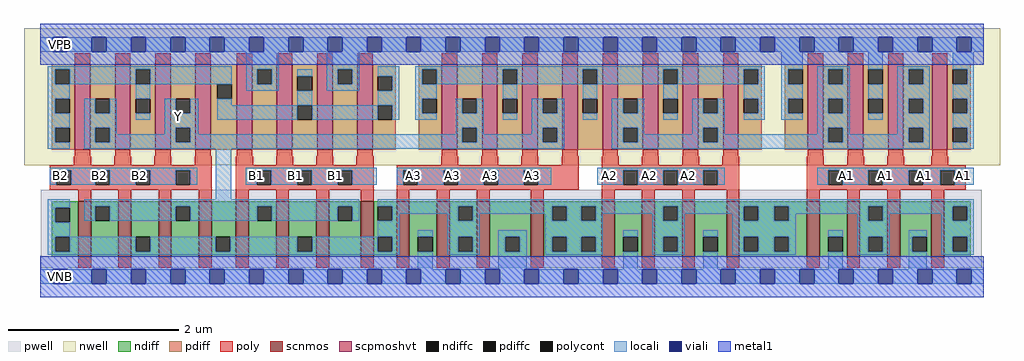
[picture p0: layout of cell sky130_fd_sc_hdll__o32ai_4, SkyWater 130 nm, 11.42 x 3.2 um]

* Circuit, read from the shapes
.subckt sky130_fd_sc_hdll__o32ai_4 A1 A2 A3 B1 B2 VGND VNB VPB VPWR Y
XM1 Y B2 n1 VNB sky130_fd_pr__nfet_01v8 w=0.65 l=0.15 m=4
XM2 Y B1 n1 VNB sky130_fd_pr__nfet_01v8 w=0.65 l=0.15 m=4
XM3 VGND A3 n1 VNB sky130_fd_pr__nfet_01v8 w=0.65 l=0.15 m=4
XM4 VGND A2 n1 VNB sky130_fd_pr__nfet_01v8 w=0.65 l=0.15 m=4
XM5 VGND A1 n1 VNB sky130_fd_pr__nfet_01v8 w=0.65 l=0.15 m=4
XM6 Y B2 n2 VPB sky130_fd_pr__pfet_01v8_hvt w=1 l=0.18 m=4
XM7 VPWR B1 n2 VPB sky130_fd_pr__pfet_01v8_hvt w=1 l=0.18 m=4
XM8 Y A3 n3 VPB sky130_fd_pr__pfet_01v8_hvt w=1 l=0.18 m=4
XM9 n4 A2 n3 VPB sky130_fd_pr__pfet_01v8_hvt w=1 l=0.18 m=4
XM10 n4 A1 VPWR VPB sky130_fd_pr__pfet_01v8_hvt w=1 l=0.18 m=4
.ends

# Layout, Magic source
magic
tech sky130A
magscale 1 2
<< nwell >>
rect -38 261 2246 582
<< pwell >>
rect 1 21 2203 203
rect 30 -17 64 21
<< scnmos >>
rect 89 47 119 177
rect 183 47 213 177
rect 277 47 307 177
rect 371 47 401 177
rect 458 47 488 177
rect 552 47 582 177
rect 646 47 676 177
rect 750 47 780 177
rect 834 47 864 177
rect 928 47 958 177
rect 1022 47 1052 177
rect 1148 47 1178 177
rect 1314 47 1344 177
rect 1408 47 1438 177
rect 1502 47 1532 177
rect 1606 47 1636 177
rect 1794 47 1824 177
rect 1888 47 1918 177
rect 1982 47 2012 177
rect 2085 47 2115 177
<< scpmoshvt >>
rect 81 297 117 497
rect 175 297 211 497
rect 269 297 305 497
rect 363 297 399 497
rect 460 297 496 497
rect 554 297 590 497
rect 648 297 684 497
rect 742 297 778 497
rect 940 297 976 497
rect 1034 297 1070 497
rect 1128 297 1164 497
rect 1222 297 1258 497
rect 1316 297 1352 497
rect 1410 297 1446 497
rect 1504 297 1540 497
rect 1598 297 1634 497
rect 1796 297 1832 497
rect 1890 297 1926 497
rect 1984 297 2020 497
rect 2087 297 2123 497
<< ndiff >>
rect 27 161 89 177
rect 27 127 35 161
rect 69 127 89 161
rect 27 93 89 127
rect 27 59 35 93
rect 69 59 89 93
rect 27 47 89 59
rect 119 165 183 177
rect 119 131 129 165
rect 163 131 183 165
rect 119 47 183 131
rect 213 93 277 177
rect 213 59 223 93
rect 257 59 277 93
rect 213 47 277 59
rect 307 165 371 177
rect 307 131 317 165
rect 351 131 371 165
rect 307 47 371 131
rect 401 93 458 177
rect 401 59 411 93
rect 445 59 458 93
rect 401 47 458 59
rect 488 165 552 177
rect 488 131 508 165
rect 542 131 552 165
rect 488 47 552 131
rect 582 93 646 177
rect 582 59 602 93
rect 636 59 646 93
rect 582 47 646 59
rect 676 165 750 177
rect 676 131 696 165
rect 730 131 750 165
rect 676 47 750 131
rect 780 165 834 177
rect 780 131 790 165
rect 824 131 834 165
rect 780 93 834 131
rect 780 59 790 93
rect 824 59 834 93
rect 780 47 834 59
rect 864 93 928 177
rect 864 59 884 93
rect 918 59 928 93
rect 864 47 928 59
rect 958 165 1022 177
rect 958 131 978 165
rect 1012 131 1022 165
rect 958 93 1022 131
rect 958 59 978 93
rect 1012 59 1022 93
rect 958 47 1022 59
rect 1052 93 1148 177
rect 1052 59 1088 93
rect 1122 59 1148 93
rect 1052 47 1148 59
rect 1178 165 1314 177
rect 1178 131 1198 165
rect 1232 131 1266 165
rect 1300 131 1314 165
rect 1178 93 1314 131
rect 1178 59 1198 93
rect 1232 59 1266 93
rect 1300 59 1314 93
rect 1178 47 1314 59
rect 1344 93 1408 177
rect 1344 59 1364 93
rect 1398 59 1408 93
rect 1344 47 1408 59
rect 1438 165 1502 177
rect 1438 131 1458 165
rect 1492 131 1502 165
rect 1438 93 1502 131
rect 1438 59 1458 93
rect 1492 59 1502 93
rect 1438 47 1502 59
rect 1532 93 1606 177
rect 1532 59 1552 93
rect 1586 59 1606 93
rect 1532 47 1606 59
rect 1636 165 1794 177
rect 1636 131 1646 165
rect 1680 131 1718 165
rect 1752 131 1794 165
rect 1636 93 1794 131
rect 1636 59 1646 93
rect 1680 59 1718 93
rect 1752 59 1794 93
rect 1636 47 1794 59
rect 1824 93 1888 177
rect 1824 59 1844 93
rect 1878 59 1888 93
rect 1824 47 1888 59
rect 1918 165 1982 177
rect 1918 131 1938 165
rect 1972 131 1982 165
rect 1918 93 1982 131
rect 1918 59 1938 93
rect 1972 59 1982 93
rect 1918 47 1982 59
rect 2012 93 2085 177
rect 2012 59 2041 93
rect 2075 59 2085 93
rect 2012 47 2085 59
rect 2115 165 2177 177
rect 2115 131 2135 165
rect 2169 131 2177 165
rect 2115 93 2177 131
rect 2115 59 2135 93
rect 2169 59 2177 93
rect 2115 47 2177 59
<< pdiff >>
rect 27 485 81 497
rect 27 451 35 485
rect 69 451 81 485
rect 27 417 81 451
rect 27 383 35 417
rect 69 383 81 417
rect 27 349 81 383
rect 27 315 35 349
rect 69 315 81 349
rect 27 297 81 315
rect 117 417 175 497
rect 117 383 129 417
rect 163 383 175 417
rect 117 349 175 383
rect 117 315 129 349
rect 163 315 175 349
rect 117 297 175 315
rect 211 485 269 497
rect 211 451 223 485
rect 257 451 269 485
rect 211 417 269 451
rect 211 383 223 417
rect 257 383 269 417
rect 211 297 269 383
rect 305 417 363 497
rect 305 383 317 417
rect 351 383 363 417
rect 305 349 363 383
rect 305 315 317 349
rect 351 315 363 349
rect 305 297 363 315
rect 399 451 460 497
rect 399 417 414 451
rect 448 417 460 451
rect 399 297 460 417
rect 496 485 554 497
rect 496 451 508 485
rect 542 451 554 485
rect 496 297 554 451
rect 590 469 648 497
rect 590 435 602 469
rect 636 435 648 469
rect 590 401 648 435
rect 590 367 602 401
rect 636 367 648 401
rect 590 297 648 367
rect 684 485 742 497
rect 684 451 696 485
rect 730 451 742 485
rect 684 297 742 451
rect 778 469 832 497
rect 778 435 790 469
rect 824 435 832 469
rect 778 401 832 435
rect 778 367 790 401
rect 824 367 832 401
rect 778 297 832 367
rect 886 485 940 497
rect 886 451 894 485
rect 928 451 940 485
rect 886 417 940 451
rect 886 383 894 417
rect 928 383 940 417
rect 886 297 940 383
rect 976 417 1034 497
rect 976 383 988 417
rect 1022 383 1034 417
rect 976 349 1034 383
rect 976 315 988 349
rect 1022 315 1034 349
rect 976 297 1034 315
rect 1070 485 1128 497
rect 1070 451 1082 485
rect 1116 451 1128 485
rect 1070 417 1128 451
rect 1070 383 1082 417
rect 1116 383 1128 417
rect 1070 297 1128 383
rect 1164 417 1222 497
rect 1164 383 1176 417
rect 1210 383 1222 417
rect 1164 349 1222 383
rect 1164 315 1176 349
rect 1210 315 1222 349
rect 1164 297 1222 315
rect 1258 485 1316 497
rect 1258 451 1270 485
rect 1304 451 1316 485
rect 1258 417 1316 451
rect 1258 383 1270 417
rect 1304 383 1316 417
rect 1258 297 1316 383
rect 1352 417 1410 497
rect 1352 383 1364 417
rect 1398 383 1410 417
rect 1352 349 1410 383
rect 1352 315 1364 349
rect 1398 315 1410 349
rect 1352 297 1410 315
rect 1446 485 1504 497
rect 1446 451 1458 485
rect 1492 451 1504 485
rect 1446 417 1504 451
rect 1446 383 1458 417
rect 1492 383 1504 417
rect 1446 297 1504 383
rect 1540 417 1598 497
rect 1540 383 1552 417
rect 1586 383 1598 417
rect 1540 349 1598 383
rect 1540 315 1552 349
rect 1586 315 1598 349
rect 1540 297 1598 315
rect 1634 485 1688 497
rect 1634 451 1646 485
rect 1680 451 1688 485
rect 1634 417 1688 451
rect 1634 383 1646 417
rect 1680 383 1688 417
rect 1634 297 1688 383
rect 1742 485 1796 497
rect 1742 451 1750 485
rect 1784 451 1796 485
rect 1742 417 1796 451
rect 1742 383 1750 417
rect 1784 383 1796 417
rect 1742 297 1796 383
rect 1832 485 1890 497
rect 1832 451 1844 485
rect 1878 451 1890 485
rect 1832 417 1890 451
rect 1832 383 1844 417
rect 1878 383 1890 417
rect 1832 349 1890 383
rect 1832 315 1844 349
rect 1878 315 1890 349
rect 1832 297 1890 315
rect 1926 485 1984 497
rect 1926 451 1938 485
rect 1972 451 1984 485
rect 1926 417 1984 451
rect 1926 383 1938 417
rect 1972 383 1984 417
rect 1926 297 1984 383
rect 2020 485 2087 497
rect 2020 451 2032 485
rect 2066 451 2087 485
rect 2020 417 2087 451
rect 2020 383 2032 417
rect 2066 383 2087 417
rect 2020 349 2087 383
rect 2020 315 2032 349
rect 2066 315 2087 349
rect 2020 297 2087 315
rect 2123 485 2177 497
rect 2123 451 2135 485
rect 2169 451 2177 485
rect 2123 417 2177 451
rect 2123 383 2135 417
rect 2169 383 2177 417
rect 2123 349 2177 383
rect 2123 315 2135 349
rect 2169 315 2177 349
rect 2123 297 2177 315
<< ndiffc >>
rect 35 127 69 161
rect 35 59 69 93
rect 129 131 163 165
rect 223 59 257 93
rect 317 131 351 165
rect 411 59 445 93
rect 508 131 542 165
rect 602 59 636 93
rect 696 131 730 165
rect 790 131 824 165
rect 790 59 824 93
rect 884 59 918 93
rect 978 131 1012 165
rect 978 59 1012 93
rect 1088 59 1122 93
rect 1198 131 1232 165
rect 1266 131 1300 165
rect 1198 59 1232 93
rect 1266 59 1300 93
rect 1364 59 1398 93
rect 1458 131 1492 165
rect 1458 59 1492 93
rect 1552 59 1586 93
rect 1646 131 1680 165
rect 1718 131 1752 165
rect 1646 59 1680 93
rect 1718 59 1752 93
rect 1844 59 1878 93
rect 1938 131 1972 165
rect 1938 59 1972 93
rect 2041 59 2075 93
rect 2135 131 2169 165
rect 2135 59 2169 93
<< pdiffc >>
rect 35 451 69 485
rect 35 383 69 417
rect 35 315 69 349
rect 129 383 163 417
rect 129 315 163 349
rect 223 451 257 485
rect 223 383 257 417
rect 317 383 351 417
rect 317 315 351 349
rect 414 417 448 451
rect 508 451 542 485
rect 602 435 636 469
rect 602 367 636 401
rect 696 451 730 485
rect 790 435 824 469
rect 790 367 824 401
rect 894 451 928 485
rect 894 383 928 417
rect 988 383 1022 417
rect 988 315 1022 349
rect 1082 451 1116 485
rect 1082 383 1116 417
rect 1176 383 1210 417
rect 1176 315 1210 349
rect 1270 451 1304 485
rect 1270 383 1304 417
rect 1364 383 1398 417
rect 1364 315 1398 349
rect 1458 451 1492 485
rect 1458 383 1492 417
rect 1552 383 1586 417
rect 1552 315 1586 349
rect 1646 451 1680 485
rect 1646 383 1680 417
rect 1750 451 1784 485
rect 1750 383 1784 417
rect 1844 451 1878 485
rect 1844 383 1878 417
rect 1844 315 1878 349
rect 1938 451 1972 485
rect 1938 383 1972 417
rect 2032 451 2066 485
rect 2032 383 2066 417
rect 2032 315 2066 349
rect 2135 451 2169 485
rect 2135 383 2169 417
rect 2135 315 2169 349
<< poly >>
rect 81 497 117 523
rect 175 497 211 523
rect 269 497 305 523
rect 363 497 399 523
rect 460 497 496 523
rect 554 497 590 523
rect 648 497 684 523
rect 742 497 778 523
rect 940 497 976 523
rect 1034 497 1070 523
rect 1128 497 1164 523
rect 1222 497 1258 523
rect 1316 497 1352 523
rect 1410 497 1446 523
rect 1504 497 1540 523
rect 1598 497 1634 523
rect 1796 497 1832 523
rect 1890 497 1926 523
rect 1984 497 2020 523
rect 2087 497 2123 523
rect 81 282 117 297
rect 175 282 211 297
rect 269 282 305 297
rect 363 282 399 297
rect 460 282 496 297
rect 554 282 590 297
rect 648 282 684 297
rect 742 282 778 297
rect 940 282 976 297
rect 1034 282 1070 297
rect 1128 282 1164 297
rect 1222 282 1258 297
rect 1316 282 1352 297
rect 1410 282 1446 297
rect 1504 282 1540 297
rect 1598 282 1634 297
rect 1796 282 1832 297
rect 1890 282 1926 297
rect 1984 282 2020 297
rect 2087 282 2123 297
rect 79 261 119 282
rect 173 261 213 282
rect 267 261 307 282
rect 361 261 401 282
rect 22 249 401 261
rect 22 215 38 249
rect 72 215 129 249
rect 163 215 223 249
rect 257 215 317 249
rect 351 215 401 249
rect 22 203 401 215
rect 89 177 119 203
rect 183 177 213 203
rect 277 177 307 203
rect 371 177 401 203
rect 458 261 498 282
rect 552 261 592 282
rect 646 261 686 282
rect 740 261 780 282
rect 938 261 978 282
rect 1032 261 1072 282
rect 1126 261 1166 282
rect 1220 261 1260 282
rect 458 249 780 261
rect 458 215 507 249
rect 541 215 601 249
rect 635 215 696 249
rect 730 215 780 249
rect 458 203 780 215
rect 458 177 488 203
rect 552 177 582 203
rect 646 177 676 203
rect 750 177 780 203
rect 834 249 1260 261
rect 834 215 850 249
rect 884 215 944 249
rect 978 215 1038 249
rect 1072 215 1132 249
rect 1166 215 1260 249
rect 834 203 1260 215
rect 1314 261 1354 282
rect 1408 261 1448 282
rect 1502 261 1542 282
rect 1596 261 1636 282
rect 1314 249 1636 261
rect 1314 215 1364 249
rect 1398 215 1458 249
rect 1492 215 1552 249
rect 1586 215 1636 249
rect 1314 203 1636 215
rect 834 177 864 203
rect 928 177 958 203
rect 1022 177 1052 203
rect 1148 177 1178 203
rect 1314 177 1344 203
rect 1408 177 1438 203
rect 1502 177 1532 203
rect 1606 177 1636 203
rect 1794 261 1834 282
rect 1888 261 1928 282
rect 1982 261 2022 282
rect 2085 261 2125 282
rect 1794 249 2166 261
rect 1794 215 1844 249
rect 1878 215 1938 249
rect 1972 215 2032 249
rect 2066 215 2106 249
rect 2140 215 2166 249
rect 1794 203 2166 215
rect 1794 177 1824 203
rect 1888 177 1918 203
rect 1982 177 2012 203
rect 2085 177 2115 203
rect 89 21 119 47
rect 183 21 213 47
rect 277 21 307 47
rect 371 21 401 47
rect 458 21 488 47
rect 552 21 582 47
rect 646 21 676 47
rect 750 21 780 47
rect 834 21 864 47
rect 928 21 958 47
rect 1022 21 1052 47
rect 1148 21 1178 47
rect 1314 21 1344 47
rect 1408 21 1438 47
rect 1502 21 1532 47
rect 1606 21 1636 47
rect 1794 21 1824 47
rect 1888 21 1918 47
rect 1982 21 2012 47
rect 2085 21 2115 47
<< polycont >>
rect 38 215 72 249
rect 129 215 163 249
rect 223 215 257 249
rect 317 215 351 249
rect 507 215 541 249
rect 601 215 635 249
rect 696 215 730 249
rect 850 215 884 249
rect 944 215 978 249
rect 1038 215 1072 249
rect 1132 215 1166 249
rect 1364 215 1398 249
rect 1458 215 1492 249
rect 1552 215 1586 249
rect 1844 215 1878 249
rect 1938 215 1972 249
rect 2032 215 2066 249
rect 2106 215 2140 249
<< locali >>
rect 0 527 29 561
rect 63 527 121 561
rect 155 527 213 561
rect 247 527 305 561
rect 339 527 397 561
rect 431 527 489 561
rect 523 527 581 561
rect 615 527 673 561
rect 707 527 765 561
rect 799 527 857 561
rect 891 527 949 561
rect 983 527 1041 561
rect 1075 527 1133 561
rect 1167 527 1225 561
rect 1259 527 1317 561
rect 1351 527 1409 561
rect 1443 527 1501 561
rect 1535 527 1593 561
rect 1627 527 1685 561
rect 1719 527 1777 561
rect 1811 527 1869 561
rect 1903 527 1961 561
rect 1995 527 2053 561
rect 2087 527 2145 561
rect 2179 527 2208 561
rect 18 485 448 493
rect 18 451 35 485
rect 69 451 223 485
rect 257 451 448 485
rect 18 417 69 451
rect 223 417 257 451
rect 482 485 558 527
rect 670 485 746 527
rect 482 451 508 485
rect 542 451 558 485
rect 482 435 558 451
rect 602 469 636 485
rect 670 451 696 485
rect 730 451 746 485
rect 670 435 746 451
rect 790 469 840 493
rect 824 435 840 469
rect 18 383 35 417
rect 18 349 69 383
rect 18 315 35 349
rect 18 299 69 315
rect 103 383 129 417
rect 163 383 179 417
rect 103 349 179 383
rect 223 367 257 383
rect 291 383 317 417
rect 351 383 370 417
rect 103 315 129 349
rect 163 333 179 349
rect 291 349 370 383
rect 414 401 448 417
rect 602 401 636 435
rect 790 401 840 435
rect 414 367 602 401
rect 636 367 790 401
rect 824 367 840 401
rect 878 485 1696 493
rect 878 451 894 485
rect 928 451 1082 485
rect 1116 451 1270 485
rect 1304 451 1458 485
rect 1492 451 1646 485
rect 1680 451 1696 485
rect 878 417 928 451
rect 1082 417 1116 451
rect 1270 417 1304 451
rect 1458 417 1492 451
rect 1646 417 1696 451
rect 878 383 894 417
rect 878 367 928 383
rect 972 383 988 417
rect 1022 383 1038 417
rect 291 333 317 349
rect 163 315 317 333
rect 351 333 370 349
rect 972 349 1038 383
rect 1082 367 1116 383
rect 1150 383 1176 417
rect 1210 383 1226 417
rect 972 333 988 349
rect 351 315 988 333
rect 1022 333 1038 349
rect 1150 349 1226 383
rect 1270 367 1304 383
rect 1338 383 1364 417
rect 1398 383 1414 417
rect 1150 333 1176 349
rect 1022 315 1176 333
rect 1210 315 1226 349
rect 103 299 1226 315
rect 1338 349 1414 383
rect 1458 367 1492 383
rect 1526 383 1552 417
rect 1586 383 1602 417
rect 1338 315 1364 349
rect 1398 333 1414 349
rect 1526 349 1602 383
rect 1680 383 1696 417
rect 1646 367 1696 383
rect 1734 485 1784 527
rect 1734 451 1750 485
rect 1734 417 1784 451
rect 1734 383 1750 417
rect 1734 367 1784 383
rect 1818 485 1894 493
rect 1818 451 1844 485
rect 1878 451 1894 485
rect 1818 417 1894 451
rect 1818 383 1844 417
rect 1878 383 1894 417
rect 1526 333 1552 349
rect 1398 315 1552 333
rect 1586 333 1602 349
rect 1818 349 1894 383
rect 1938 485 1972 527
rect 1938 417 1972 451
rect 1938 367 1972 383
rect 2006 485 2082 493
rect 2006 451 2032 485
rect 2066 451 2082 485
rect 2006 417 2082 451
rect 2006 383 2032 417
rect 2066 383 2082 417
rect 1818 333 1844 349
rect 1586 315 1844 333
rect 1878 333 1894 349
rect 2006 349 2082 383
rect 2006 333 2032 349
rect 1878 315 2032 333
rect 2066 315 2082 349
rect 1338 299 2082 315
rect 2135 485 2185 527
rect 2169 451 2185 485
rect 2135 417 2185 451
rect 2169 383 2185 417
rect 2135 349 2185 383
rect 2169 315 2185 349
rect 2135 299 2185 315
rect 22 249 367 255
rect 22 215 38 249
rect 72 215 129 249
rect 163 215 223 249
rect 257 215 317 249
rect 351 215 367 249
rect 411 181 447 299
rect 481 249 788 255
rect 481 215 507 249
rect 541 215 601 249
rect 635 215 696 249
rect 730 215 788 249
rect 834 249 1196 255
rect 834 215 850 249
rect 884 215 944 249
rect 978 215 1038 249
rect 1072 215 1132 249
rect 1166 215 1196 249
rect 1304 249 1602 255
rect 1304 215 1364 249
rect 1398 215 1458 249
rect 1492 215 1552 249
rect 1586 215 1602 249
rect 1818 249 2185 255
rect 1818 215 1844 249
rect 1878 215 1938 249
rect 1972 215 2032 249
rect 2066 215 2106 249
rect 2140 215 2185 249
rect 18 161 69 181
rect 18 127 35 161
rect 103 165 746 181
rect 103 131 129 165
rect 163 131 317 165
rect 351 131 508 165
rect 542 131 696 165
rect 730 131 746 165
rect 790 165 2185 181
rect 824 147 978 165
rect 824 131 840 147
rect 18 93 69 127
rect 790 93 840 131
rect 952 131 978 147
rect 1012 147 1198 165
rect 1012 131 1028 147
rect 18 59 35 93
rect 69 59 223 93
rect 257 59 411 93
rect 445 59 602 93
rect 636 59 790 93
rect 824 59 840 93
rect 18 51 840 59
rect 884 93 918 109
rect 884 17 918 59
rect 952 93 1028 131
rect 1182 131 1198 147
rect 1232 131 1266 165
rect 1300 147 1458 165
rect 1300 131 1316 147
rect 952 59 978 93
rect 1012 59 1028 93
rect 952 51 1028 59
rect 1072 93 1138 109
rect 1072 59 1088 93
rect 1122 59 1138 93
rect 1072 17 1138 59
rect 1182 93 1316 131
rect 1432 131 1458 147
rect 1492 147 1646 165
rect 1492 131 1508 147
rect 1182 59 1198 93
rect 1232 59 1266 93
rect 1300 59 1316 93
rect 1182 51 1316 59
rect 1364 93 1398 109
rect 1364 17 1398 59
rect 1432 93 1508 131
rect 1620 131 1646 147
rect 1680 131 1718 165
rect 1752 147 1938 165
rect 1752 131 1768 147
rect 1432 59 1458 93
rect 1492 59 1508 93
rect 1432 51 1508 59
rect 1552 93 1586 109
rect 1552 17 1586 59
rect 1620 93 1768 131
rect 1912 131 1938 147
rect 1972 147 2135 165
rect 1972 131 1988 147
rect 1620 59 1646 93
rect 1680 59 1718 93
rect 1752 59 1768 93
rect 1620 51 1768 59
rect 1844 93 1878 109
rect 1844 17 1878 59
rect 1912 93 1988 131
rect 2109 131 2135 147
rect 2169 131 2185 165
rect 1912 59 1938 93
rect 1972 59 1988 93
rect 1912 51 1988 59
rect 2032 93 2075 109
rect 2032 59 2041 93
rect 2032 17 2075 59
rect 2109 93 2185 131
rect 2109 59 2135 93
rect 2169 59 2185 93
rect 2109 51 2185 59
rect 0 -17 29 17
rect 63 -17 121 17
rect 155 -17 213 17
rect 247 -17 305 17
rect 339 -17 397 17
rect 431 -17 489 17
rect 523 -17 581 17
rect 615 -17 673 17
rect 707 -17 765 17
rect 799 -17 857 17
rect 891 -17 949 17
rect 983 -17 1041 17
rect 1075 -17 1133 17
rect 1167 -17 1225 17
rect 1259 -17 1317 17
rect 1351 -17 1409 17
rect 1443 -17 1501 17
rect 1535 -17 1593 17
rect 1627 -17 1685 17
rect 1719 -17 1777 17
rect 1811 -17 1869 17
rect 1903 -17 1961 17
rect 1995 -17 2053 17
rect 2087 -17 2145 17
rect 2179 -17 2208 17
<< viali >>
rect 29 527 63 561
rect 121 527 155 561
rect 213 527 247 561
rect 305 527 339 561
rect 397 527 431 561
rect 489 527 523 561
rect 581 527 615 561
rect 673 527 707 561
rect 765 527 799 561
rect 857 527 891 561
rect 949 527 983 561
rect 1041 527 1075 561
rect 1133 527 1167 561
rect 1225 527 1259 561
rect 1317 527 1351 561
rect 1409 527 1443 561
rect 1501 527 1535 561
rect 1593 527 1627 561
rect 1685 527 1719 561
rect 1777 527 1811 561
rect 1869 527 1903 561
rect 1961 527 1995 561
rect 2053 527 2087 561
rect 2145 527 2179 561
rect 29 -17 63 17
rect 121 -17 155 17
rect 213 -17 247 17
rect 305 -17 339 17
rect 397 -17 431 17
rect 489 -17 523 17
rect 581 -17 615 17
rect 673 -17 707 17
rect 765 -17 799 17
rect 857 -17 891 17
rect 949 -17 983 17
rect 1041 -17 1075 17
rect 1133 -17 1167 17
rect 1225 -17 1259 17
rect 1317 -17 1351 17
rect 1409 -17 1443 17
rect 1501 -17 1535 17
rect 1593 -17 1627 17
rect 1685 -17 1719 17
rect 1777 -17 1811 17
rect 1869 -17 1903 17
rect 1961 -17 1995 17
rect 2053 -17 2087 17
rect 2145 -17 2179 17
<< metal1 >>
rect 0 561 2208 592
rect 0 527 29 561
rect 63 527 121 561
rect 155 527 213 561
rect 247 527 305 561
rect 339 527 397 561
rect 431 527 489 561
rect 523 527 581 561
rect 615 527 673 561
rect 707 527 765 561
rect 799 527 857 561
rect 891 527 949 561
rect 983 527 1041 561
rect 1075 527 1133 561
rect 1167 527 1225 561
rect 1259 527 1317 561
rect 1351 527 1409 561
rect 1443 527 1501 561
rect 1535 527 1593 561
rect 1627 527 1685 561
rect 1719 527 1777 561
rect 1811 527 1869 561
rect 1903 527 1961 561
rect 1995 527 2053 561
rect 2087 527 2145 561
rect 2179 527 2208 561
rect 0 496 2208 527
rect 0 17 2208 48
rect 0 -17 29 17
rect 63 -17 121 17
rect 155 -17 213 17
rect 247 -17 305 17
rect 339 -17 397 17
rect 431 -17 489 17
rect 523 -17 581 17
rect 615 -17 673 17
rect 707 -17 765 17
rect 799 -17 857 17
rect 891 -17 949 17
rect 983 -17 1041 17
rect 1075 -17 1133 17
rect 1167 -17 1225 17
rect 1259 -17 1317 17
rect 1351 -17 1409 17
rect 1443 -17 1501 17
rect 1535 -17 1593 17
rect 1627 -17 1685 17
rect 1719 -17 1777 17
rect 1811 -17 1869 17
rect 1903 -17 1961 17
rect 1995 -17 2053 17
rect 2087 -17 2145 17
rect 2179 -17 2208 17
rect 0 -48 2208 -17
<< labels >>
flabel locali s 2052 221 2086 255 0 FreeSans 250 0 0 0 A1
port 1 nsew signal input
flabel locali s 2144 221 2178 255 0 FreeSans 250 0 0 0 A1
port 1 nsew signal input
flabel locali s 1869 221 1903 255 0 FreeSans 250 0 0 0 A1
port 1 nsew signal input
flabel locali s 1962 221 1996 255 0 FreeSans 250 0 0 0 A1
port 1 nsew signal input
flabel locali s 1408 221 1442 255 0 FreeSans 250 0 0 0 A2
port 2 nsew signal input
flabel locali s 1316 221 1350 255 0 FreeSans 250 0 0 0 A2
port 2 nsew signal input
flabel locali s 1499 221 1533 255 0 FreeSans 250 0 0 0 A2
port 2 nsew signal input
flabel locali s 1037 221 1071 255 0 FreeSans 250 0 0 0 A3
port 3 nsew signal input
flabel locali s 948 221 982 255 0 FreeSans 250 0 0 0 A3
port 3 nsew signal input
flabel locali s 857 221 891 255 0 FreeSans 250 0 0 0 A3
port 3 nsew signal input
flabel locali s 1135 221 1169 255 0 FreeSans 250 0 0 0 A3
port 3 nsew signal input
flabel locali s 489 221 523 255 0 FreeSans 250 0 0 0 B1
port 4 nsew signal input
flabel locali s 581 221 615 255 0 FreeSans 250 0 0 0 B1
port 4 nsew signal input
flabel locali s 673 221 707 255 0 FreeSans 250 0 0 0 B1
port 4 nsew signal input
flabel locali s 307 357 341 391 0 FreeSans 250 0 0 0 Y
port 10 nsew signal output
flabel locali s 216 221 250 255 0 FreeSans 250 0 0 0 B2
port 5 nsew signal input
flabel locali s 122 221 156 255 0 FreeSans 250 0 0 0 B2
port 5 nsew signal input
flabel locali s 30 221 64 255 0 FreeSans 250 0 0 0 B2
port 5 nsew signal input
flabel pwell s 30 -17 64 17 0 FreeSans 200 0 0 0 VNB
port 7 nsew ground bidirectional
flabel nwell s 30 527 64 561 0 FreeSans 200 0 0 0 VPB
port 8 nsew power bidirectional
flabel metal1 s 30 -17 64 17 0 FreeSans 200 0 0 0 VGND
port 6 nsew ground bidirectional
flabel metal1 s 30 527 64 561 0 FreeSans 200 0 0 0 VPWR
port 9 nsew power bidirectional
rlabel comment s 0 0 0 0 4 o32ai_4
<< properties >>
string LEFsite unithd
string LEFclass CORE
string FIXED_BBOX 0 0 2208 544
string GDS_FILE $PDKPATH/libs.ref/sky130_fd_sc_hdll/gds/sky130_fd_sc_hdll.gds
string LEFsymmetry X Y R90
string GDS_END 833190
string GDS_START 816220
string LEFproperties maskLayoutSubType "abstract" prCellType "standard" originalViewName "layout"
<< end >>
